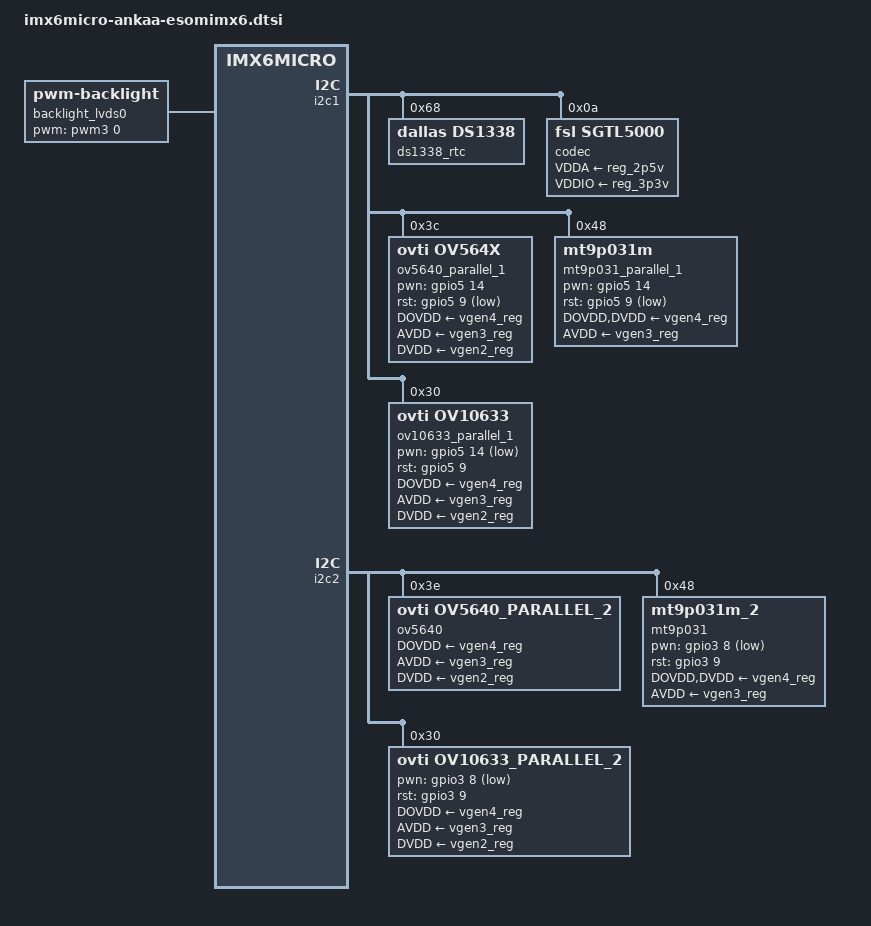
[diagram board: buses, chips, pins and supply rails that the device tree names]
/* RTC driver and CODEC driver for ankaa base board */

#include <dt-bindings/input/input.h>

/ {
	sound {
		compatible = "fsl,imx6q-esomimx6-sgtl5000",
			     "fsl,imx-audio-sgtl5000";
		model = "imx6q-esomimx6-sgtl5000";
		ssi-controller = <&ssi1>; /* not sure to which SSI ANKAA is connected to */
		audio-codec = <&codec>;
		audio-routing =
			"MIC_IN", "Mic Jack",
			"Mic Jack", "Mic Bias",
			"Headphone Jack", "HP_OUT";
		mux-int-port = <1>;
		mux-ext-port = <3>;

		};

	backlight_lvds0 {
		compatible = "pwm-backlight";
		pwms = <&pwm3 0 5000000>;
		brightness-levels = <0 4 8 16 32 64 128 255>;
		default-brightness-level = <7>;
	};

};

&i2c1 {
	ds1338_rtc@68 {
		compatible = "dallas,ds1338";
		reg = <0x68>;
	};

	codec: sgtl5000@0a {
		compatible = "fsl,sgtl5000";
		reg = <0x0a>;
		clocks = <&clks 201>;
		VDDA-supply = <&reg_2p5v>;
		VDDIO-supply = <&reg_3p3v>;
	};

	/* ov5640 parallel camera 1 */
	ov5640_parallel_1: ov5640@3c {
		compatible = "ovti,ov564x";
		reg = <0x3c>;
		pinctrl-names = "default";
		pinctrl-0 = <&pinctrl_ipu1_2>;
		clocks = <&clks 201>;
		clock-names = "csi_mclk";
		DOVDD-supply = <&vgen4_reg>; /* 1.8v */ /* Not sure of these three values */
		AVDD-supply = <&vgen3_reg>;  /* 2.8v, on rev C board is VGEN3,
						on rev B board is VGEN5 */
		DVDD-supply = <&vgen2_reg>;  /* 1.5v*/
		/* If proper GPIOs are given here, camera modules with proper GPIOs are not working
		   So, GPIOs are not given proper here. TODO: Given proper GPIOs and make camera modules
		   with porper GPIOs to work here
		*/
		pwn-gpios = <&gpio5 14 0>; /* eSOMiMX6*/
		rst-gpios = <&gpio5 9 1>;  /* eSOMiMX6 */
		ipu_id = <0>;
		csi_id = <0>;
		mclk = <24000000>;
		mclk_source = <0>;
	};

	/* mt9p031 parallel camera 1 */
	mt9p031_parallel_1: mt9p031@48 {
		compatible = "mt9p031m";
		reg = <0x48>;
		pinctrl-names = "default";
		pinctrl-0 = <&pinctrl_ipu1_2>;
		clocks = <&clks 201>;
		clock-names = "csi_mclk";
		DOVDD-supply = <&vgen4_reg>; /* 1.8v */ /* Not sure of these three values */
		AVDD-supply = <&vgen3_reg>;  /* 2.8v, on rev C board is VGEN3,
						on rev B board is VGEN5 */
		DVDD-supply = <&vgen4_reg>;  /* 1.8v*/
		/* If proper GPIOs are given here, camera modules with proper GPIOs are not working
		   So, GPIOs are not given proper here. TODO: Given proper GPIOs and make camera modules
		   with porper GPIOs to work here
		*/
		pwn-gpios = <&gpio5 14 0>; /* eSOMiMX6*/
		rst-gpios = <&gpio5 9 1>;  /* eSOMiMX6 */
		ipu_id = <0>;
		csi_id = <0>;
		mclk = <24000000>;
		mclk_source = <0>;
	};

	/* ov10633 parallel camera 1 */
	ov10633_parallel_1: ov10633@30 {
		compatible = "ovti,ov10633";
		reg = <0x30>;
		pinctrl-names = "default";
		pinctrl-0 = <&pinctrl_ipu1_2>;
		clocks = <&clks 201>;
		clock-names = "csi_mclk";
		DOVDD-supply = <&vgen4_reg>; /* 1.8v */ /* Not sure of these three values */
		AVDD-supply = <&vgen3_reg>;  /* 2.8v, on rev C board is VGEN3,
						on rev B board is VGEN5 */
		DVDD-supply = <&vgen2_reg>;  /* 1.5v*/
		pwn-gpios = <&gpio5 14 1>; /* eSOMiMX6 */
		rst-gpios = <&gpio5 9 0>; /* eSOMiMX6 */
		ipu_id = <0>;
		csi_id = <0>;
		mclk = <24000000>;
		mclk_source = <0>;
	};
};

&i2c2 {
	ov5640: ov5640@3e {
		compatible = "ovti,ov5640_parallel_2";
		reg = <0x3e>;
		pinctrl-names = "default";
		pinctrl-0 = <&pinctrl_ov5640_csi1>;
		clocks = <&clks 201>;
		clock-names = "csi_mclk";
		DOVDD-supply = <&vgen4_reg>; /* 1.8v */
		AVDD-supply = <&vgen3_reg>;  /* 2.8v, on rev C board is VGEN3,
						on rev B board is VGEN5 */
		DVDD-supply = <&vgen2_reg>;  /* 1.5v*/
		/*pwn-gpios = <&gpio3 8 1>;*/   /* active high: EIM_DA8 */
		/*rst-gpios = <&gpio3 9 0>;*/   /* active low: EIM_DA9 */
		csi_id = <1>;
		ipu_id = <1>;
		mclk = <24000000>;
		mclk_source = <0>;
		status = "okay";
	};

	mt9p031: mt9p031@48 {
		compatible = "mt9p031m_2";
		reg = <0x48>;
		pinctrl-names = "default";
		pinctrl-0 = <&pinctrl_ov5640_csi1>;
		clocks = <&clks 201>;
		clock-names = "csi_mclk";
		DOVDD-supply = <&vgen4_reg>; /* 1.8v */
		AVDD-supply = <&vgen3_reg>;  /* 2.8v, on rev C board is VGEN3,
						on rev B board is VGEN5 */
		DVDD-supply = <&vgen4_reg>;  /* 1.8v*/
		pwn-gpios = <&gpio3 8 1>;   /* active high: EIM_DA8 */
		rst-gpios = <&gpio3 9 0>;   /* active low: EIM_DA9 */
		csi_id = <1>;
		ipu_id = <1>;
		mclk = <24000000>;
		mclk_source = <0>;
		status = "okay";
	};

	/* ov10633 parallel camera 2 */
	ov10633_parallel_2: ov10633@30 {
		compatible = "ovti,ov10633_parallel_2";
		reg = <0x30>;
		pinctrl-names = "default";
		pinctrl-0 = <&pinctrl_ov5640_csi1>;
		clocks = <&clks 201>;
		clock-names = "csi_mclk";
		DOVDD-supply = <&vgen4_reg>; /* 1.8v */ /* Not sure of these three values */
		AVDD-supply = <&vgen3_reg>;  /* 2.8v, on rev C board is VGEN3,
						on rev B board is VGEN5 */
		DVDD-supply = <&vgen2_reg>;  /* 1.5v*/
		pwn-gpios = <&gpio3 8 1>;   /* active high: EIM_DA8 */
		rst-gpios = <&gpio3 9 0>;   /* active low: EIM_DA9 */
		ipu_id = <1>;
		csi_id = <1>;
		mclk = <24000000>;
		mclk_source = <0>;

	};
};
